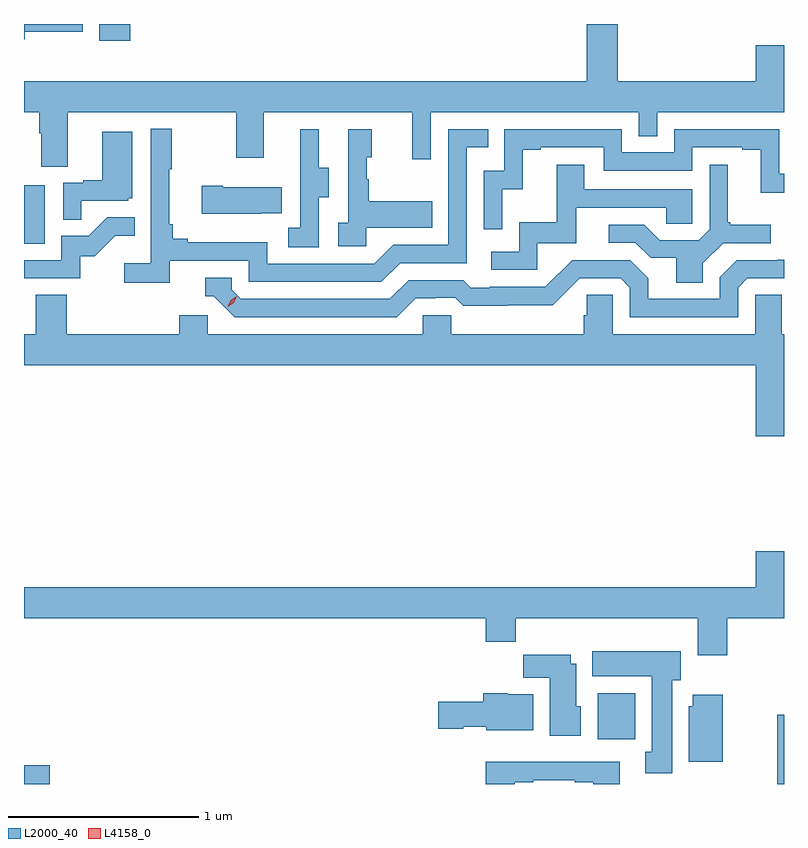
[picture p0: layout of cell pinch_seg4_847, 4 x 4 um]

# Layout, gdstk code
import gdstk
lib = gdstk.Library(unit=1e-6, precision=1e-09)
def R(c, l, rs):  # rectangles x0, y0, x1, y1
    for r in rs: c.add(gdstk.rectangle(r[:2], r[2:], *l))
def P(c, l, *ps):  # polygons
    for p in ps: c.add(gdstk.Polygon(p, *l))
L2000_40 = (2000, 40)
L4158_0 = (4158, 0)

pinch_seg4_847 = lib.new_cell('pinch_seg4_847')
R(pinch_seg4_847, L2000_40, [(868.45,791.952,868.585,792.05), (872.414,791.952,872.45,792.316), (871.469,792.188,871.666,792.43), (868.45,794.796,868.558,795.103), (868.847,795.864,869.008,795.952)])
P(pinch_seg4_847, L2000_40, [(868.453,795.91),(868.758,795.91),(868.758,795.952),(868.45,795.952),(868.45,795.872),(868.453,795.872)],
  [(871.576,795.952),(871.412,795.952),(871.412,795.652),(868.45,795.652),(868.45,795.488),(868.529,795.488),(868.529,795.376),(868.541,795.376),(868.541,795.202),(868.681,795.202),(868.681,795.488),(869.566,795.488),(869.566,795.249),(869.713,795.249),(869.713,795.488),(870.494,795.488),(870.494,795.24),(870.591,795.24),(870.591,795.488),(871.686,795.488),(871.686,795.361),(871.782,795.361),(871.782,795.488),(872.45,795.488),(872.45,795.841),(872.3,795.841),(872.3,795.652),(871.576,795.652)],
  [(869.216,794.706),(869.634,794.706),(869.634,794.595),(870.331,794.595),(870.43,794.694),(870.78,794.694),(870.78,795.303),(870.893,795.303),(870.893,795.399),(870.684,795.399),(870.684,794.79),(870.393,794.79),(870.294,794.691),(869.73,794.691),(869.73,794.803),(869.311,794.803),(869.311,794.822),(869.234,794.822),(869.234,794.899),(869.215,794.899),(869.215,795.187),(869.227,795.187),(869.227,795.4),(869.118,795.4),(869.118,794.692),(868.977,794.692),(868.977,794.59),(869.216,794.59)],
  [(870.966,795.083),(871.076,795.083),(871.076,795.291),(871.171,795.291),(871.171,795.303),(871.5,795.303),(871.5,795.18),(871.968,795.18),(871.968,795.303),(872.231,795.303),(872.231,795.291),(872.327,795.291),(872.327,795.065),(872.45,795.065),(872.45,795.163),(872.424,795.163),(872.424,795.399),(871.872,795.399),(871.872,795.276),(871.596,795.276),(871.596,795.399),(870.978,795.399),(870.978,795.18),(870.87,795.18),(870.87,794.871),(870.966,794.871)],
  [(870.252,794.879),(870.599,794.879),(870.599,795.019),(870.265,795.019),(870.265,795.134),(870.255,795.134),(870.255,795.252),(870.28,795.252),(870.28,795.397),(870.156,795.397),(870.156,794.906),(870.105,794.906),(870.105,794.781),(870.252,794.781)],
  [(870,795.04),(870.055,795.04),(870.055,795.195),(870.001,795.195),(870.001,795.397),(869.903,795.397),(869.903,795.183),(869.904,795.183),(869.904,794.879),(869.841,794.879),(869.841,794.776),(870,794.776)],
  [(868.751,795.021),(868.998,795.021),(868.998,795.036),(869.02,795.036),(869.02,795.385),(868.862,795.385),(868.862,795.13),(868.763,795.13),(868.763,795.117),(868.656,795.117),(868.656,794.923),(868.751,794.923)],
  [(871.152,794.799),(871.357,794.799),(871.357,794.985),(871.831,794.985),(871.831,794.901),(871.968,794.901),(871.968,795.081),(871.399,795.081),(871.399,795.211),(871.255,795.211),(871.255,794.908),(871.056,794.908),(871.056,794.754),(870.909,794.754),(870.909,794.658),(871.152,794.658)],
  [(872.023,794.692),(872.13,794.799),(872.38,794.799),(872.38,794.896),(872.167,794.896),(872.167,794.908),(872.155,794.908),(872.155,795.211),(872.058,795.211),(872.058,794.871),(872.001,794.814),(871.795,794.814),(871.714,794.895),(871.527,794.895),(871.527,794.802),(871.668,794.802),(871.748,794.722),(871.883,794.722),(871.883,794.59),(872.023,794.59)],
  [(869.699,794.957),(869.807,794.957),(869.807,795.094),(869.497,795.094),(869.497,795.102),(869.385,795.102),(869.385,794.954),(869.699,794.954)],
  [(868.746,794.73),(868.822,794.73),(868.929,794.837),(869.033,794.837),(869.033,794.936),(868.889,794.936),(868.791,794.838),(868.647,794.838),(868.647,794.709),(868.45,794.709),(868.45,794.613),(868.746,794.613)],
  [(870.511,794.508),(870.618,794.508),(870.618,794.511),(870.721,794.511),(870.763,794.469),(870.996,794.469),(870.996,794.471),(871.232,794.471),(871.374,794.613),(871.59,794.613),(871.638,794.565),(871.638,794.409),(872.208,794.409),(872.208,794.565),(872.256,794.613),(872.45,794.613),(872.45,794.711),(872.418,794.711),(872.418,794.709),(872.202,794.709),(872.112,794.619),(872.112,794.505),(871.735,794.505),(871.735,794.615),(871.641,794.709),(871.335,794.709),(871.194,794.568),(870.901,794.568),(870.901,794.565),(870.802,794.565),(870.763,794.604),(870.474,794.604),(870.375,794.505),(869.592,794.505),(869.544,794.553),(869.544,794.616),(869.405,794.616),(869.405,794.52),(869.448,794.52),(869.559,794.409),(870.412,794.409)],
  [(872.45,794.32),(872.437,794.32),(872.437,794.528),(872.298,794.528),(872.298,794.32),(871.548,794.32),(871.548,794.528),(871.411,794.528),(871.411,794.418),(871.397,794.418),(871.397,794.32),(870.699,794.32),(870.699,794.418),(870.549,794.418),(870.549,794.32),(869.418,794.32),(869.418,794.418),(869.267,794.418),(869.267,794.32),(868.676,794.32),(868.676,794.528),(868.511,794.528),(868.511,794.32),(868.45,794.32),(868.45,794.156),(872.3,794.156),(872.3,793.782),(872.45,793.782)],
  [(868.45,792.824),(870.881,792.824),(870.881,792.7),(871.037,792.7),(871.037,792.824),(871.997,792.824),(871.997,792.63),(872.15,792.63),(872.15,792.824),(872.45,792.824),(872.45,793.177),(872.3,793.177),(872.3,792.988),(868.45,792.988)],
  [(871.861,792.498),(871.906,792.498),(871.906,792.652),(871.442,792.652),(871.442,792.518),(871.754,792.518),(871.754,792.122),(871.721,792.122),(871.721,792.009),(871.861,792.009)],
  [(871.381,792.36),(871.357,792.36),(871.357,792.586),(871.327,792.586),(871.327,792.631),(871.078,792.631),(871.078,792.512),(871.217,792.512),(871.217,792.206),(871.381,792.206)],
  [(871.129,792.424),(870.996,792.424),(870.996,792.43),(870.866,792.43),(870.866,792.384),(870.63,792.384),(870.63,792.242),(870.762,792.242),(870.762,792.254),(870.882,792.254),(870.882,792.236),(871.129,792.236)],
  [(872.128,792.421),(871.97,792.421),(871.97,792.36),(871.949,792.36),(871.949,792.068),(872.128,792.068)],
  [(871.033,791.961),(871.129,791.961),(871.129,791.973),(871.349,791.973),(871.349,791.961),(871.445,791.961),(871.445,791.952),(871.585,791.952),(871.585,792.07),(870.881,792.07),(870.881,791.952),(871.033,791.952)])
P(pinch_seg4_847, L4158_0, [(869.523,794.465),(869.523,794.466),(869.539,794.498),(869.569,794.518),(869.57,794.518),(869.57,794.517),(869.553,794.485),(869.523,794.465)])

lib.write_gds('pinch_seg4_847.gds')
